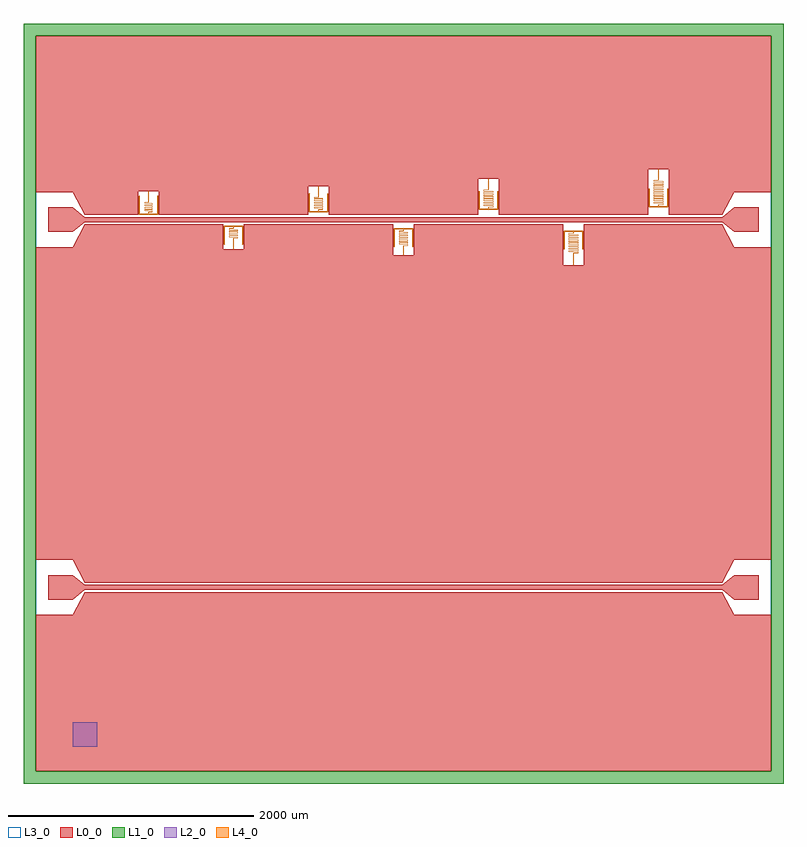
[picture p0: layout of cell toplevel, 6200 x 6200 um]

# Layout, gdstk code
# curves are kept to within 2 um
import gdstk
lib = gdstk.Library(unit=1e-6, precision=1e-09)
def R(c, l, rs):  # rectangles x0, y0, x1, y1
    for r in rs: c.add(gdstk.rectangle(r[:2], r[2:], *l))
def P(c, l, *ps):  # polygons
    for p in ps: c.add(gdstk.Polygon(p, *l))
L0_0 = (0, 0)
L1_0 = (1, 0)
L2_0 = (2, 0)
L3_0 = (3, 0)
L4_0 = (4, 0)

toplevel = lib.new_cell('toplevel')
P(toplevel, L0_0, [(-1996,1732.5),(-1996,1539.5),(-777.333,1539.5),(-777.333,1772.5),(-609.333,1772.5),(-609.333,1539.5),(609.333,1539.5),(609.333,1832.5),(777.333,1832.5),(777.333,1539.5),(1996,1539.5),(1996,1912.5),(2164,1912.5),(2164,1539.5),(2600,1539.5),(2700,1725),(3000,1725),(3000,3000),(-3000,3000),(-3000,1725),(-2700,1725),(-2600,1539.5),(-2164,1539.5),(-2164,1732.5)],
  [(3000,1275),(2700,1275),(2600,1460.5),(1470.667,1460.5),(1470.667,1127.5),(1302.667,1127.5),(1302.667,1460.5),(84,1460.5),(84,1207.5),(-84,1207.5),(-84,1460.5),(-1302.667,1460.5),(-1302.667,1257.5),(-1470.667,1257.5),(-1470.667,1460.5),(-2600,1460.5),(-2700,1275),(-3000,1275),(-3000,-1275),(-2700,-1275),(-2600,-1460.5),(2600,-1460.5),(2700,-1275),(3000,-1275)],
  [(2600,-1539.5),(-2600,-1539.5),(-2700,-1725),(-3000,-1725),(-3000,-3000),(3000,-3000),(3000,-1725),(2700,-1725)],
  [(-2600,1519.5),(-2700,1600),(-2900,1600),(-2900,1400),(-2700,1400),(-2600,1480.5),(2600,1480.5),(2700,1400),(2900,1400),(2900,1600),(2700,1600),(2600,1519.5)],
  [(-2600,-1480.5),(-2700,-1400),(-2900,-1400),(-2900,-1600),(-2700,-1600),(-2600,-1519.5),(2600,-1519.5),(2700,-1600),(2900,-1600),(2900,-1400),(2700,-1400),(2600,-1480.5)])
P(toplevel, L1_0, [(3100,3100),(-3100,3100),(-3100,-3000),(-3000,-3000),(-3000,3000),(3000,3000),(3000,-3000),(-3000,-3000),(-3100,-3000),(-3100,-3100),(3100,-3100)])
R(toplevel, L2_0, [(-2700,-2800,-2500,-2600)])
R(toplevel, L3_0, [(-3000,-3000,3000,3000)])
P(toplevel, L4_0, [(-2079.698,1561.563),(-2079.382,1562.151),(-2050.167,1562.407),(-2049.701,1563.492),(-2050.029,1572.482),(-2109.251,1572.818),(-2109.698,1573.433),(-2109.582,1582.016),(-2050.636,1582.229),(-2049.708,1583.31),(-2049.883,1592.295),(-2051.019,1592.8),(-2109.255,1592.819),(-2109.698,1593.423),(-2109.607,1601.979),(-2050.381,1602.297),(-2049.7,1603.622),(-2049.997,1612.448),(-2108.965,1612.8),(-2109.669,1613.183),(-2109.584,1622.014),(-2050.991,1622.201),(-2049.752,1623.026),(-2049.711,1631.726),(-2050.636,1632.771),(-2109.662,1633.157),(-2109.378,1642.152),(-2080.935,1642.202),(-2079.768,1642.967),(-2079.7,1732.5),(-2080.3,1732.5),(-2080.343,1643.139),(-2109.573,1642.719),(-2110.293,1641.677),(-2110.241,1633),(-2109.008,1632.201),(-2050.745,1632.181),(-2050.303,1631.591),(-2050.334,1623.171),(-2051.035,1622.8),(-2109.364,1622.771),(-2110.289,1621.726),(-2110.253,1613.045),(-2109.008,1612.201),(-2050.749,1612.182),(-2050.304,1611.604),(-2050.426,1602.972),(-2108.981,1602.8),(-2110.125,1602.282),(-2110.299,1601.531),(-2110.292,1593.304),(-2109.364,1592.229),(-2051.055,1592.2),(-2050.394,1591.982),(-2050.302,1583.428),(-2050.745,1582.819),(-2109.619,1582.703),(-2110.298,1581.56),(-2110.293,1573.322),(-2109.37,1572.23),(-2051.065,1572.2),(-2050.301,1571.51),(-2050.381,1563.043),(-2079.827,1562.597),(-2080.296,1561.624),(-2080.3,1552.5),(-2090,1547.5),(-2148.088,1547.501),(-2150.606,1547.911),(-2151,1550.606),(-2151.004,1689.674),(-2152.429,1692.564),(-2155.522,1693.466),(-2157.949,1692.202),(-2158.996,1689.674),(-2159,1550.582),(-2158.446,1545.984),(-2156.633,1542.651),(-2153.449,1540.389),(-2149.341,1539.533),(-2011.461,1539.506),(-2007.212,1540.141),(-2003.946,1542.051),(-2001.758,1545.382),(-2001.006,1549.961),(-2001,1689.5),(-2001.375,1691.19),(-2002.429,1692.564),(-2005.522,1693.466),(-2007.949,1692.202),(-2008.996,1689.674),(-2009.338,1547.996),(-2011.786,1547.502),(-2070,1547.5),(-2079.7,1552.5)],
  [(-1387.06,1428.021),(-1421.442,1427.629),(-1421.966,1426.508),(-1421.585,1417.471),(-1352.44,1417.185),(-1351.969,1416.572),(-1352.1,1407.964),(-1420.999,1407.776),(-1421.96,1406.677),(-1421.691,1397.576),(-1420.625,1397.2),(-1352.657,1397.199),(-1351.967,1396.378),(-1352.093,1387.972),(-1420.664,1387.8),(-1421.915,1386.974),(-1421.67,1377.552),(-1352.711,1377.2),(-1352.004,1376.843),(-1352.09,1367.977),(-1420.664,1367.8),(-1421.901,1367.027),(-1421.956,1358.274),(-1420.993,1357.223),(-1352.013,1356.871),(-1352.316,1347.84),(-1385.709,1347.799),(-1386.882,1347.086),(-1386.967,1257.5),(-1386.367,1257.5),(-1386.315,1346.888),(-1352.14,1347.266),(-1351.374,1348.316),(-1351.441,1357.053),(-1352.675,1357.8),(-1420.897,1357.815),(-1421.363,1358.405),(-1421.325,1366.857),(-1352.341,1367.223),(-1351.378,1368.268),(-1351.425,1377),(-1352.669,1377.8),(-1420.897,1377.815),(-1421.363,1378.405),(-1421.333,1386.828),(-1420.622,1387.2),(-1352.36,1387.22),(-1351.381,1388.243),(-1351.425,1397),(-1352.624,1397.799),(-1420.596,1397.8),(-1421.366,1398.495),(-1421.364,1406.572),(-1420.897,1407.185),(-1352.087,1407.283),(-1351.369,1408.429),(-1351.373,1416.671),(-1352.334,1417.776),(-1420.596,1417.8),(-1421.366,1418.48),(-1421.278,1426.971),(-1386.897,1427.368),(-1386.371,1428.364),(-1386.367,1437.5),(-1376.667,1442.5),(-1318.579,1442.499),(-1316.061,1442.089),(-1315.667,1439.492),(-1315.663,1300.325),(-1314.238,1297.436),(-1311.145,1296.534),(-1308.718,1297.798),(-1307.67,1300.325),(-1307.667,1439.53),(-1308.204,1443.962),(-1310.033,1447.349),(-1313.162,1449.587),(-1317.325,1450.467),(-1455.205,1450.494),(-1459.455,1449.859),(-1462.67,1447.996),(-1464.888,1444.673),(-1465.66,1440.079),(-1465.667,1300.5),(-1465.292,1298.81),(-1464.238,1297.436),(-1461.145,1296.534),(-1458.718,1297.798),(-1457.67,1300.325),(-1457.322,1442.016),(-1454.755,1442.499),(-1396.667,1442.5),(-1386.967,1437.5)],
  [(-693.032,1581.539),(-692.799,1582.115),(-658.84,1582.257),(-658.044,1583.28),(-658.033,1591.378),(-658.714,1592.703),(-727.294,1592.8),(-728.009,1593.217),(-727.91,1602.023),(-659.33,1602.2),(-658.476,1602.424),(-658.069,1603.097),(-658.335,1612.453),(-659.007,1612.777),(-727.294,1612.8),(-728.007,1613.205),(-727.91,1622.023),(-659.33,1622.2),(-658.076,1623.065),(-658.33,1632.448),(-659.007,1632.777),(-727.289,1632.8),(-728.002,1633.183),(-727.91,1642.023),(-659.336,1642.2),(-658.085,1643.026),(-658.33,1652.448),(-659.007,1652.777),(-727.289,1652.8),(-727.996,1653.157),(-727.91,1662.023),(-659.336,1662.2),(-658.099,1662.973),(-658.044,1671.726),(-659.007,1672.777),(-727.283,1672.8),(-727.987,1673.129),(-728.031,1681.563),(-727.684,1682.16),(-694.291,1682.201),(-693.118,1682.914),(-693.033,1772.5),(-693.633,1772.5),(-693.685,1683.112),(-727.86,1682.734),(-728.626,1681.684),(-728.559,1672.947),(-727.325,1672.2),(-659.102,1672.185),(-658.637,1671.595),(-658.675,1663.143),(-659.378,1662.8),(-727.659,1662.777),(-728.622,1661.732),(-728.575,1653),(-727.331,1652.2),(-659.102,1652.185),(-658.637,1651.595),(-658.667,1643.171),(-659.378,1642.8),(-727.659,1642.777),(-728.622,1641.732),(-728.586,1633.045),(-727.331,1632.2),(-659.098,1632.184),(-658.637,1631.595),(-658.662,1623.194),(-659.373,1622.8),(-727.659,1622.777),(-728.621,1621.738),(-728.595,1613.084),(-728.185,1612.42),(-727.336,1612.2),(-659.098,1612.184),(-658.637,1611.6),(-658.658,1603.213),(-659.373,1602.8),(-727.659,1602.777),(-728.621,1601.738),(-728.599,1593.104),(-727.387,1592.201),(-659.343,1592.2),(-658.765,1592.034),(-658.633,1591.378),(-658.732,1583.011),(-693.083,1582.643),(-693.628,1581.642),(-693.633,1572.5),(-703.333,1567.5),(-761.421,1567.501),(-763.939,1567.911),(-764.333,1570.508),(-764.337,1709.674),(-764.785,1711.347),(-765.762,1712.564),(-767.298,1713.364),(-768.855,1713.466),(-771.282,1712.202),(-772.33,1709.674),(-772.333,1570.507),(-771.796,1566.038),(-769.967,1562.651),(-766.782,1560.389),(-762.675,1559.533),(-624.794,1559.506),(-620.545,1560.141),(-617.279,1562.051),(-615.112,1565.327),(-614.34,1569.921),(-614.333,1709.5),(-614.708,1711.19),(-615.762,1712.564),(-617.298,1713.364),(-618.855,1713.466),(-621.282,1712.202),(-622.33,1709.674),(-622.333,1570.672),(-622.678,1567.984),(-625.245,1567.501),(-683.333,1567.5),(-693.033,1572.5)],
  [(-0.54,1407.882),(-35.731,1407.746),(-36.539,1406.72),(-36.55,1398.622),(-35.869,1397.297),(35.21,1397.2),(35.927,1396.779),(35.825,1387.975),(-35.253,1387.8),(-36.108,1387.576),(-36.515,1386.896),(-36.248,1377.547),(-35.563,1377.221),(35.21,1377.2),(35.925,1376.791),(35.825,1367.975),(-35.247,1367.8),(-36.095,1367.585),(-36.509,1366.928),(-36.248,1357.547),(-35.563,1357.221),(35.205,1357.2),(35.921,1356.81),(35.825,1347.975),(-35.247,1347.8),(-36.083,1347.593),(-36.5,1346.968),(-36.248,1337.547),(-35.563,1337.221),(35.205,1337.2),(35.914,1336.836),(35.825,1327.975),(-35.242,1327.8),(-36.488,1327.013),(-36.538,1318.268),(-36.248,1317.547),(-35.563,1317.221),(35.2,1317.2),(35.906,1316.864),(35.825,1307.975),(-35.242,1307.8),(-36.472,1307.066),(-36.539,1298.274),(-36.248,1297.547),(-35.563,1297.221),(35.2,1297.2),(35.896,1296.895),(35.948,1288.437),(35.593,1287.838),(0.969,1287.799),(-0.195,1287.139),(-0.3,1207.5),(0.3,1207.5),(0.361,1286.914),(1.02,1287.2),(35.763,1287.262),(36.542,1288.316),(36.46,1297.099),(35.236,1297.8),(-35.477,1297.815),(-35.947,1298.405),(-35.902,1306.878),(-35.2,1307.2),(35.563,1307.221),(36.248,1307.547),(36.538,1308.268),(36.48,1317.04),(35.242,1317.8),(-35.477,1317.815),(-35.947,1318.405),(-35.911,1326.847),(-35.205,1327.2),(35.563,1327.221),(36.248,1327.547),(36.538,1328.268),(36.495,1336.987),(36.07,1337.601),(35.247,1337.8),(-35.477,1337.815),(-35.946,1338.4),(-35.918,1346.821),(-35.205,1347.2),(35.563,1347.221),(36.538,1348.262),(36.504,1356.948),(36.089,1357.589),(35.247,1357.8),(-35.477,1357.815),(-35.946,1358.4),(-35.922,1366.802),(-35.205,1367.2),(35.563,1367.221),(36.538,1368.262),(36.513,1376.909),(36.102,1377.58),(35.253,1377.8),(-35.477,1377.815),(-35.946,1378.4),(-35.926,1386.783),(-35.21,1387.2),(35.563,1387.221),(36.538,1388.262),(36.517,1396.89),(36.126,1397.562),(35.298,1397.799),(-35.24,1397.8),(-35.818,1397.966),(-35.95,1398.622),(-35.849,1406.992),(-0.263,1407.35),(0.295,1408.352),(0.3,1417.5),(10,1422.5),(68.088,1422.499),(70.606,1422.089),(71,1419.394),(71.004,1280.325),(71.452,1278.653),(72.429,1277.436),(73.797,1276.685),(75.349,1276.515),(77.949,1277.798),(78.996,1280.325),(79,1419.418),(78.446,1424.016),(76.633,1427.349),(73.504,1429.587),(69.341,1430.467),(-68.539,1430.494),(-72.788,1429.859),(-76.054,1427.949),(-78.242,1424.618),(-78.994,1420.039),(-79,1280.5),(-78.625,1278.81),(-77.571,1277.436),(-76.035,1276.636),(-74.478,1276.534),(-72.051,1277.798),(-71.004,1280.325),(-71,1419.394),(-70.662,1422.004),(-68.213,1422.498),(-10,1422.5),(-0.3,1417.5)],
  [(693.636,1601.572),(693.994,1602.163),(730.583,1602.357),(731.133,1603.492),(731.13,1611.618),(730.728,1612.548),(656.615,1612.814),(656.136,1613.428),(656.274,1622.044),(730.147,1622.221),(730.842,1622.558),(731.125,1623.31),(730.896,1632.376),(729.792,1632.8),(656.615,1632.814),(656.136,1633.419),(656.232,1641.989),(730.147,1642.221),(730.837,1642.552),(731.124,1643.292),(730.976,1652.25),(729.808,1652.8),(656.611,1652.814),(656.136,1653.414),(656.207,1661.942),(656.893,1662.2),(730.14,1662.22),(730.831,1662.547),(731.123,1663.28),(731.023,1672.152),(729.814,1672.8),(656.611,1672.814),(656.136,1673.409),(656.19,1681.901),(656.888,1682.2),(730.14,1682.22),(730.831,1682.547),(731.122,1683.274),(731.05,1692.079),(729.819,1692.8),(656.611,1692.814),(656.137,1693.405),(656.178,1701.868),(656.883,1702.2),(730.14,1702.22),(730.831,1702.547),(731.122,1703.268),(731.069,1712.02),(730.641,1712.609),(729.825,1712.8),(656.611,1712.814),(656.137,1713.405),(656.174,1721.854),(656.883,1722.2),(729.882,1722.201),(731.075,1723),(731.119,1731.763),(730.82,1732.465),(730.128,1732.781),(656.883,1732.8),(656.184,1733.115),(656.135,1741.567),(656.497,1742.164),(692.364,1742.201),(693.539,1742.888),(693.633,1832.5),(693.033,1832.5),(692.977,1743.098),(692.314,1742.8),(656.333,1742.741),(655.541,1741.69),(655.616,1732.921),(656.847,1732.2),(730.048,1732.187),(730.529,1731.614),(730.407,1722.972),(656.842,1722.8),(656.026,1722.609),(655.597,1722.02),(655.545,1713.268),(655.835,1712.547),(656.526,1712.22),(729.783,1712.2),(730.493,1711.854),(730.53,1703.405),(730.056,1702.814),(656.842,1702.8),(656.038,1702.617),(655.605,1702.046),(655.545,1693.268),(655.835,1692.547),(656.526,1692.22),(729.783,1692.2),(730.483,1691.885),(730.53,1683.405),(730.056,1682.814),(656.847,1682.8),(655.628,1682.112),(655.544,1673.274),(655.835,1672.547),(656.526,1672.22),(730.248,1672.139),(730.53,1663.409),(730.056,1662.814),(656.858,1662.8),(656.109,1662.657),(655.534,1661.508),(655.543,1653.286),(655.83,1652.552),(656.526,1652.22),(729.773,1652.2),(730.448,1651.965),(730.53,1643.414),(730.052,1642.814),(656.864,1642.8),(655.724,1642.308),(655.534,1641.537),(655.542,1633.298),(655.825,1632.558),(656.52,1632.221),(729.768,1632.2),(730.416,1632.016),(730.533,1631.495),(730.531,1623.423),(730.052,1622.814),(656.267,1622.722),(655.536,1621.583),(655.54,1613.328),(655.82,1612.564),(656.52,1612.221),(729.758,1612.2),(730.359,1612.075),(730.532,1611.524),(730.442,1603.024),(693.596,1602.65),(693.039,1601.647),(693.033,1592.5),(683.333,1587.5),(625.245,1587.501),(622.73,1587.908),(622.333,1590.672),(622.33,1729.674),(621.958,1731.19),(621.036,1732.449),(619.701,1733.259),(617.985,1733.485),(616.486,1733.048),(615.384,1732.202),(614.337,1729.674),(614.333,1590.656),(614.839,1586.146),(616.7,1582.651),(619.884,1580.389),(623.992,1579.533),(761.872,1579.506),(766.121,1580.141),(769.387,1582.051),(771.575,1585.382),(772.326,1589.88),(772.333,1729.5),(772.029,1731.031),(771.036,1732.449),(769.536,1733.315),(767.811,1733.466),(765.384,1732.202),(764.337,1729.674),(764.333,1590.508),(763.992,1587.99),(761.547,1587.502),(703.333,1587.5),(693.633,1592.5)],
  [(1386.271,1388.016),(1349.417,1387.643),(1348.867,1386.508),(1348.87,1378.382),(1349.272,1377.452),(1350.224,1377.2),(1423.385,1377.186),(1423.864,1376.572),(1423.726,1367.956),(1349.853,1367.779),(1349.158,1367.442),(1348.875,1366.69),(1349.104,1357.624),(1350.208,1357.2),(1423.385,1357.186),(1423.864,1356.581),(1423.767,1348.011),(1349.853,1347.779),(1349.163,1347.448),(1348.876,1346.708),(1349.027,1337.744),(1350.197,1337.2),(1423.377,1337.187),(1423.862,1336.614),(1423.733,1327.964),(1350.118,1327.799),(1349.29,1327.562),(1348.9,1326.89),(1348.879,1318.255),(1349.174,1317.541),(1349.86,1317.22),(1423.127,1317.2),(1423.844,1316.779),(1423.74,1307.972),(1350.169,1307.8),(1349.309,1307.576),(1348.903,1306.903),(1348.879,1298.262),(1349.174,1297.541),(1349.86,1297.22),(1423.122,1297.2),(1423.84,1296.798),(1423.74,1287.972),(1350.169,1287.8),(1349.321,1287.585),(1348.909,1286.935),(1348.879,1278.262),(1349.174,1277.541),(1349.86,1277.22),(1423.122,1277.2),(1423.835,1276.817),(1423.74,1267.972),(1350.175,1267.8),(1349.34,1267.597),(1348.918,1266.974),(1348.879,1258.262),(1349.174,1257.541),(1349.86,1257.22),(1423.117,1257.2),(1423.83,1256.84),(1423.863,1248.4),(1423.389,1247.814),(1350.175,1247.8),(1349.359,1247.61),(1348.931,1247.02),(1348.878,1238.268),(1349.169,1237.547),(1349.86,1237.22),(1423.117,1237.2),(1423.822,1236.868),(1423.864,1228.433),(1423.502,1227.836),(1387.63,1227.799),(1386.872,1227.617),(1386.449,1227.079),(1386.367,1127.5),(1386.967,1127.5),(1387.017,1226.885),(1387.686,1227.2),(1423.667,1227.259),(1424.459,1228.31),(1424.395,1237.046),(1423.961,1237.617),(1423.158,1237.8),(1349.944,1237.814),(1349.47,1238.405),(1349.507,1246.854),(1350.216,1247.2),(1423.474,1247.22),(1424.165,1247.547),(1424.455,1248.268),(1424.408,1257),(1423.981,1257.605),(1423.158,1257.8),(1349.944,1257.814),(1349.47,1258.4),(1349.5,1266.828),(1350.211,1267.2),(1423.474,1267.22),(1424.159,1267.541),(1424.454,1268.262),(1424.42,1276.954),(1423.999,1277.593),(1423.164,1277.8),(1349.944,1277.814),(1349.47,1278.4),(1349.495,1286.806),(1350.211,1287.2),(1423.474,1287.22),(1424.159,1287.541),(1424.454,1288.262),(1424.427,1296.922),(1424.012,1297.585),(1423.164,1297.8),(1349.944,1297.814),(1349.47,1298.4),(1349.491,1306.787),(1350.211,1307.2),(1423.474,1307.22),(1424.159,1307.541),(1424.454,1308.255),(1424.433,1316.89),(1424.024,1317.576),(1423.164,1317.8),(1349.944,1317.814),(1349.47,1318.4),(1349.49,1326.779),(1350.211,1327.2),(1423.221,1327.201),(1423.785,1327.297),(1424.41,1328.006),(1424.452,1336.763),(1424.148,1337.47),(1423.455,1337.782),(1350.227,1337.8),(1349.553,1338.032),(1349.47,1346.586),(1349.948,1347.186),(1423.136,1347.2),(1424.276,1347.692),(1424.466,1348.463),(1424.458,1356.702),(1424.175,1357.442),(1423.48,1357.779),(1350.232,1357.8),(1349.584,1357.984),(1349.467,1358.505),(1349.469,1366.577),(1349.948,1367.186),(1423.733,1367.278),(1424.464,1368.417),(1424.46,1376.671),(1424.18,1377.436),(1423.48,1377.779),(1350.242,1377.8),(1349.641,1377.925),(1349.468,1378.476),(1349.558,1386.976),(1386.404,1387.35),(1386.961,1388.352),(1386.967,1397.5),(1396.667,1402.5),(1454.755,1402.499),(1457.27,1402.092),(1457.667,1399.294),(1457.67,1260.325),(1458.041,1258.81),(1459.095,1257.436),(1460.464,1256.685),(1462.015,1256.515),(1463.514,1256.952),(1464.616,1257.798),(1465.362,1258.969),(1465.663,1260.325),(1465.667,1399.27),(1465.161,1403.854),(1463.345,1407.297),(1460.171,1409.587),(1456.008,1410.467),(1318.128,1410.494),(1313.878,1409.859),(1310.613,1407.949),(1308.425,1404.618),(1307.674,1400.12),(1307.667,1260.5),(1308.042,1258.81),(1309.095,1257.436),(1310.631,1256.636),(1312.189,1256.534),(1313.514,1256.952),(1314.616,1257.798),(1315.362,1258.969),(1315.663,1260.325),(1315.667,1399.492),(1316.008,1402.01),(1318.453,1402.498),(1376.667,1402.5),(1386.367,1397.5)],
  [(2080.302,1621.577),(2080.671,1622.166),(2119.724,1622.343),(2120.299,1623.492),(2120.296,1631.624),(2119.87,1632.567),(2118.937,1632.8),(2040.79,1632.813),(2040.302,1633.428),(2040.448,1642.052),(2119.301,1642.219),(2120.008,1642.558),(2120.293,1643.328),(2120.298,1651.583),(2119.987,1652.465),(2118.948,1652.8),(2041,1652.801),(2040.432,1652.966),(2040.3,1653.622),(2040.43,1662.032),(2118.997,1662.2),(2119.876,1662.437),(2120.275,1663.161),(2120.287,1671.745),(2119.987,1672.465),(2119.294,1672.781),(2041.045,1672.8),(2040.319,1673.245),(2040.428,1682.03),(2118.997,1682.2),(2119.87,1682.433),(2120.272,1683.142),(2120.287,1691.745),(2119.987,1692.465),(2119.294,1692.781),(2041.045,1692.8),(2040.321,1693.233),(2040.428,1702.03),(2118.997,1702.2),(2119.864,1702.428),(2120.268,1703.117),(2120.287,1711.745),(2119.987,1712.465),(2119.294,1712.781),(2041.045,1712.8),(2040.324,1713.217),(2040.428,1722.03),(2118.997,1722.2),(2119.852,1722.42),(2120.263,1723.091),(2120.287,1731.745),(2119.987,1732.465),(2119.294,1732.781),(2041.045,1732.8),(2040.327,1733.201),(2040.428,1742.03),(2118.992,1742.2),(2119.839,1742.411),(2120.256,1743.058),(2120.288,1751.738),(2119.992,1752.459),(2119.294,1752.781),(2041.05,1752.8),(2040.331,1753.183),(2040.304,1761.6),(2040.786,1762.187),(2118.992,1762.2),(2119.827,1762.403),(2120.248,1763.026),(2120.288,1771.738),(2119.992,1772.459),(2119.294,1772.781),(2041.05,1772.8),(2040.337,1773.16),(2040.304,1781.6),(2040.786,1782.187),(2118.986,1782.2),(2119.808,1782.39),(2120.236,1782.98),(2120.288,1791.738),(2119.992,1792.459),(2119.294,1792.781),(2041.05,1792.8),(2040.344,1793.136),(2040.304,1801.6),(2040.786,1802.187),(2118.981,1802.2),(2119.782,1802.375),(2120.219,1802.927),(2120.288,1811.732),(2119.992,1812.459),(2119.294,1812.781),(2041.055,1812.8),(2040.354,1813.105),(2040.302,1821.567),(2040.675,1822.167),(2079.026,1822.201),(2079.769,1822.368),(2080.195,1822.861),(2080.3,1912.5),(2079.7,1912.5),(2079.639,1823.086),(2078.975,1822.8),(2040.519,1822.746),(2039.942,1822.382),(2039.708,1821.69),(2039.792,1812.894),(2040.231,1812.368),(2041.019,1812.2),(2119.21,1812.187),(2119.696,1811.6),(2119.651,1803.118),(2118.945,1802.8),(2040.706,1802.781),(2040.007,1802.459),(2039.712,1801.732),(2039.772,1792.954),(2040.205,1792.383),(2041.014,1792.2),(2119.214,1792.187),(2119.696,1791.6),(2119.659,1783.146),(2118.95,1782.8),(2040.706,1782.781),(2040.007,1782.459),(2039.712,1781.738),(2039.757,1773.006),(2040.18,1772.398),(2041.008,1772.2),(2119.214,1772.187),(2119.696,1771.6),(2119.666,1763.171),(2118.95,1762.8),(2040.706,1762.781),(2040.007,1762.459),(2039.712,1761.738),(2039.747,1753.045),(2040.167,1752.407),(2041.008,1752.2),(2119.214,1752.187),(2119.696,1751.6),(2119.671,1743.19),(2118.955,1742.8),(2040.706,1742.781),(2040.013,1742.465),(2039.713,1741.745),(2039.74,1733.078),(2040.155,1732.415),(2041.008,1732.2),(2119.214,1732.187),(2119.696,1731.604),(2119.675,1723.209),(2118.955,1722.8),(2040.706,1722.781),(2040.013,1722.465),(2039.713,1721.745),(2039.735,1713.104),(2040.142,1712.424),(2041.003,1712.2),(2119.214,1712.187),(2119.696,1711.604),(2119.678,1703.225),(2118.955,1702.8),(2040.706,1702.781),(2040.013,1702.465),(2039.713,1701.745),(2039.73,1693.129),(2040.136,1692.428),(2041.003,1692.2),(2119.214,1692.187),(2119.696,1691.604),(2119.68,1683.241),(2118.955,1682.8),(2040.706,1682.781),(2040.013,1682.465),(2039.713,1681.745),(2039.727,1673.149),(2040.13,1672.433),(2041.003,1672.2),(2119.214,1672.187),(2119.696,1671.604),(2119.682,1663.253),(2118.96,1662.8),(2040.718,1662.783),(2040.018,1662.47),(2039.715,1661.763),(2039.759,1653),(2040.394,1652.292),(2040.969,1652.201),(2118.925,1652.2),(2119.555,1652.048),(2119.699,1651.51),(2119.698,1643.428),(2119.21,1642.813),(2040.447,1642.726),(2040.024,1642.476),(2039.702,1641.589),(2039.707,1633.328),(2039.991,1632.558),(2040.699,1632.219),(2118.92,1632.2),(2119.516,1632.082),(2119.699,1631.524),(2119.607,1623.021),(2080.283,1622.66),(2079.705,1621.647),(2079.7,1612.5),(2070,1607.5),(2011.912,1607.501),(2009.394,1607.911),(2009,1610.573),(2008.996,1749.674),(2008.548,1751.347),(2007.571,1752.564),(2006.203,1753.315),(2004.651,1753.485),(2003.309,1753.125),(2002.051,1752.202),(2001.304,1751.031),(2001.004,1749.674),(2001,1610.545),(2001.554,1605.984),(2003.367,1602.651),(2004.787,1601.365),(2006.551,1600.389),(2010.659,1599.533),(2148.539,1599.506),(2152.788,1600.141),(2154.558,1600.941),(2156.054,1602.051),(2157.284,1603.503),(2158.242,1605.382),(2158.788,1607.454),(2158.994,1609.961),(2159,1749.5),(2158.625,1751.19),(2157.571,1752.564),(2156.035,1753.364),(2154.478,1753.466),(2153.153,1753.048),(2152.051,1752.202),(2151.304,1751.031),(2151.004,1749.674),(2151,1610.606),(2150.662,1607.996),(2149.86,1607.626),(2148.213,1607.502),(2090,1607.5),(2080.3,1612.5)])

lib.write_gds('toplevel.gds')
